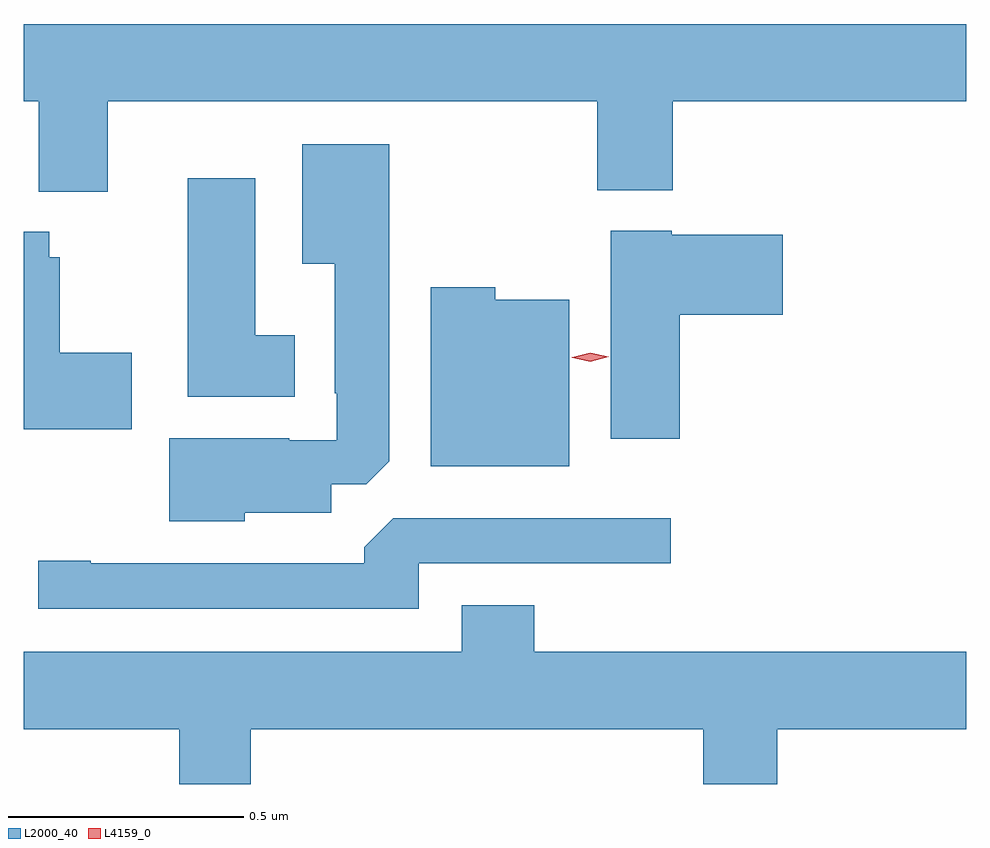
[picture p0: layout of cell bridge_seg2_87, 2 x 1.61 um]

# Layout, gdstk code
import gdstk
lib = gdstk.Library(unit=1e-6, precision=1e-09)
def P(c, l, *ps):  # polygons
    for p in ps: c.add(gdstk.Polygon(p, *l))
L2000_40 = (2000, 40)
L4159_0 = (4159, 0)

bridge_seg2_87 = lib.new_cell('bridge_seg2_87')
P(bridge_seg2_87, L2000_40, [(325.456,652.964),(326.494,652.964),(326.494,652.775),(326.654,652.775),(326.654,652.964),(327.277,652.964),(327.277,653.128),(325.277,653.128),(325.277,652.964),(325.309,652.964),(325.309,652.772),(325.456,652.772)],
  [(325.746,652.091),(325.93,652.091),(325.93,652.152),(326.004,652.152),(326.053,652.201),(326.053,652.873),(325.868,652.873),(325.868,652.619),(325.937,652.619),(325.937,652.345),(325.941,652.345),(325.941,652.245),(325.841,652.245),(325.841,652.249),(325.586,652.249),(325.586,652.073),(325.746,652.073)],
  [(325.852,652.468),(325.768,652.468),(325.768,652.801),(325.625,652.801),(325.625,652.337),(325.852,652.337)],
  [(326.669,652.511),(326.887,652.511),(326.887,652.681),(326.652,652.681),(326.652,652.69),(326.522,652.69),(326.522,652.248),(326.669,652.248)],
  [(325.507,652.431),(325.354,652.431),(325.354,652.633),(325.332,652.633),(325.332,652.687),(325.277,652.687),(325.277,652.268),(325.507,652.268)],
  [(326.434,652.543),(326.277,652.543),(326.277,652.57),(326.141,652.57),(326.141,652.19),(326.434,652.19)],
  [(326.115,651.984),(326.65,651.984),(326.65,652.08),(326.061,652.08),(326,652.018),(326,651.984),(325.42,651.984),(325.42,651.989),(325.308,651.989),(325.308,651.888),(326.115,651.888)],
  [(325.759,651.632),(326.719,651.632),(326.719,651.516),(326.876,651.516),(326.876,651.632),(327.277,651.632),(327.277,651.796),(326.36,651.796),(326.36,651.895),(326.207,651.895),(326.207,651.796),(325.277,651.796),(325.277,651.632),(325.607,651.632),(325.607,651.516),(325.759,651.516)])
P(bridge_seg2_87, L4159_0, [(326.479,652.412),(326.441,652.42),(326.44,652.421),(326.441,652.421),(326.479,652.431),(326.518,652.422),(326.518,652.422),(326.518,652.422)])

lib.write_gds('bridge_seg2_87.gds')
